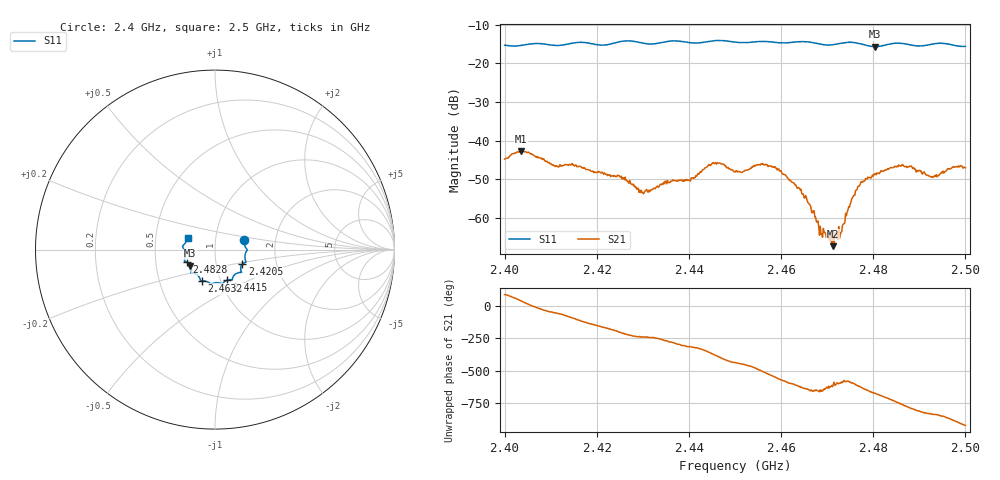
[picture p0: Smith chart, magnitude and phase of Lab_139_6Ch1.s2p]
# Hz S RI R 50
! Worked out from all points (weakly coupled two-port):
!   601 points, 2.4 GHz to 2.5 GHz, reference 50 ohm
!   highest |S21| = -42.69 dB at 2.4035 GHz (marker M1); lowest = -67.3 dB at 2.4712 GHz (marker M2)
!   lowest |S11| = -15.7 dB at 2.4803 GHz (marker M3), VSWR 1.39, Z = 37.4 - j6.85 ohm
!   |S11| at or under -10 dB: start of sweep to end of sweep
!   S12 and S22 are empty: the file has one direction only
!   S11 on the Smith chart (normalised r, x): 2.4 GHz: 1.38, +0.15; 2.4205 GHz: 1.34, -0.23; 2.4415 GHz: 1.07, -0.38; 2.4632 GHz: 0.82, -0.29; 2.4828 GHz: 0.72, -0.10; 2.5 GHz: 0.73, +0.10
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2.4e9  0.1635 0.0517  0.000374 0.00574  0 0  0 0
2.4035e9  0.1693 0.0142  0.00571 0.00461  0 0  0 0
2.416667e9  0.173 -0.0699  -0.00215 -0.00401  0 0  0 0
2.4205e9  0.152 -0.0818  -0.00364 -0.00157  0 0  0 0
2.429667e9  0.1317 -0.1284  -0.00106 0.00201  0 0  0 0
2.433333e9  0.1003 -0.1516  -0.000738 0.00239  0 0  0 0
2.4415e9  0.0657 -0.1707  0.00285 0.00207  0 0  0 0
2.445333e9  0.0425 -0.1907  0.00505 -0.00129  0 0  0 0
2.45e9  0.0243 -0.1864  0.00087 -0.00382  0 0  0 0
2.4565e9  -0.0236 -0.19  -0.00437 -0.00212  0 0  0 0
2.463167e9  -0.0732 -0.1739  -0.00084 0.00256  0 0  0 0
2.466667e9  -0.0822 -0.1669  0.000472 0.00107  0 0  0 0
2.4685e9  -0.088 -0.1533  0.00024 0.000749  0 0  0 0
2.471167e9  -0.1104 -0.1339  -5.2e-05 0.000429  0 0  0 0
2.473167e9  -0.1278 -0.1301  -0.000395 0.000534  0 0  0 0
2.477e9  -0.132 -0.1226  -0.000492 0.00255  0 0  0 0
2.480333e9  -0.1378 -0.0892  0.00254 0.00273  0 0  0 0
2.482833e9  -0.1586 -0.0701  0.00411 0.000793  0 0  0 0
2.483333e9  -0.1625 -0.068  0.00426 0.000331  0 0  0 0
2.488e9  -0.1669 -0.0467  0.00181 -0.00434  0 0  0 0
2.492667e9  -0.1763 0.00737  -0.00141 -0.00306  0 0  0 0
2.5e9  -0.1527 0.0644  -0.00413 0.00165  0 0  0 0
